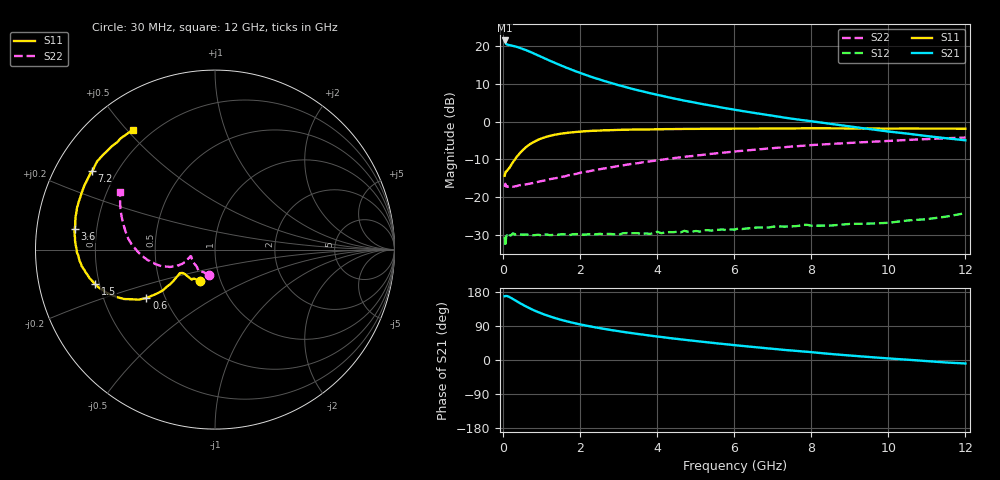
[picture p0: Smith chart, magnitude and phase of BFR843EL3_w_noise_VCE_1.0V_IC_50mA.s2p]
! Infineon Technologies  Discrete & RF Semiconductors
! BFR843EL3
! VCE =  1.0 V,  IC =  50 mA
! Common Emitter S-Parameters:  Aug 2013
# GHz  S  MA  R  50
!  f  S11  S21  S12  S22
! GHz  MAG  ANG  MAG  ANG  MAG  ANG  MAG  ANG
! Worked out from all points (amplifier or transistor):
!   103 points, 30 MHz to 12 GHz, reference 50 ohm
!   highest |S21| = 21.5 dB at 30 MHz (marker M1)
!   |S21| within 3 dB of that: start of sweep to 689.1 MHz
!   unconditionally stable (mu >= 1): start of sweep to end of sweep
!   at 400 MHz: K = 1.52, MAG = 20.5 dB, |S12| = -29.8 dB
!   at 3.7 GHz: K = 2.08, MAG = 12.8 dB, |S12| = -29.6 dB
!   at 12 GHz: K = 3.33, MAG = 1.5 dB, |S12| = -24.2 dB
!   lowest NFmin = 1.75 dB at 450 MHz
!   S11 on the Smith chart (normalised r, x): 30 MHz: 0.80, -0.29; 600 MHz: 0.39, -0.27; 1.5 GHz: 0.18, -0.14; 3.6 GHz: 0.12, +0.07; 7.2 GHz: 0.11, +0.29; 12 GHz: 0.14, +0.52
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0.03  0.1921 -115.8  11.95 168.3  0.0279 27.0  0.1442 -102.4
0.04  0.2004 -126.5  11.46 168.4  0.0291 20.7  0.1411 -117.2
0.05  0.2116 -127.9  11.24 168.4  0.0224 -7.3  0.1504 -127.2
0.07  0.2175 -141.5  10.76 169.0  0.0304 14.4  0.1384 -141.4
0.15  0.2424 -145.6  10.38 166.5  0.0309 6.3  0.1389 -157.9
0.3  0.3171 -142.4  9.975 157.6  0.0319 4.0  0.1394 -164.7
0.45  0.3956 -142.6  9.425 148.8  0.032 5.4  0.1448 -164.4
0.6  0.4671 -144.8  8.838 140.5  0.032 4.3  0.1482 -162.8
0.8  0.543 -149.4  7.981 130.8  0.0313 6.4  0.155 -161.8
1  0.604 -153.9  7.183 122.4  0.031 6.1  0.1638 -159.9
1.2  0.6492 -158.2  6.46 115.1  0.0314 5.6  0.1731 -158.8
1.5  0.695 -163.9  5.558 105.9  0.0322 7.2  0.1857 -157.5
1.8  0.7243 -168.8  4.829 98.3  0.0322 6.0  0.1999 -156.5
2.1  0.7477 -172.8  4.239 91.7  0.0318 9.7  0.2157 -156.6
2.8  0.7737 179.1  3.257 79.0  0.0325 12.0  0.249 -157.6
3.6  0.7903 171.7  2.536 67.3  0.0324 16.9  0.2887 -160.8
4.1  0.7955 167.7  2.212 60.7  0.0333 19.8  0.3127 -163.0
6.1  0.8102 154.1  1.416 38.3  0.0384 25.1  0.4076 -175.0
7.2  0.8127 147.5  1.156 27.5  0.041 26.7  0.4546 177.9
8.5  0.8173 139.9  0.937 15.9  0.042 29.0  0.5073 168.8
10.5  0.8126 130.3  0.695 0.8  0.0491 36.4  0.5736 156.7
12  0.8085 124.3  0.567 -9.2  0.0614 39.4  0.617 148.6
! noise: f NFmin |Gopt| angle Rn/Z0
0.45  1.75  0.3  181  0.13
0.9  1.79  0.32  185  0.13
1.5  1.84  0.34  187  0.12
1.9  1.87  0.35  -172  0.12
2.4  1.91  0.38  192  0.12
3.5  1.98  0.41  198  0.13
5.5  2.11  0.47  207  0.12
8  2.27  0.57  219  0.18
10  2.39  0.6  234  0.37
